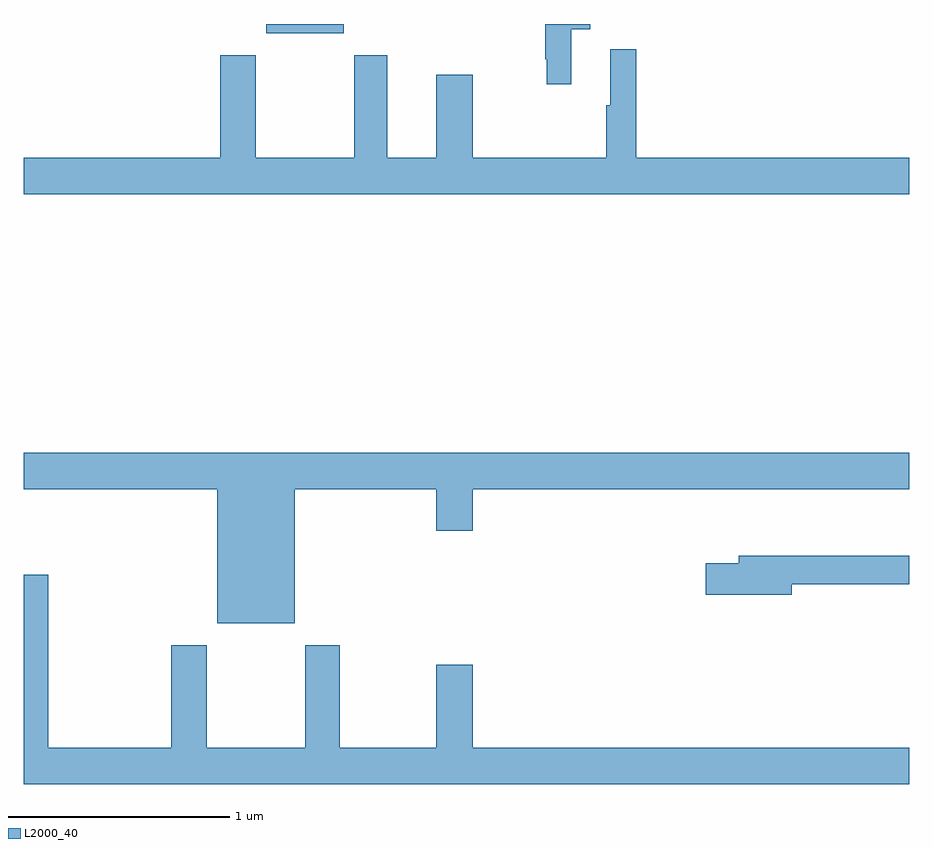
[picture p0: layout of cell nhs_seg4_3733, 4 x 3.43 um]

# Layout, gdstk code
import gdstk
lib = gdstk.Library(unit=1e-6, precision=1e-09)
def R(c, l, rs):  # rectangles x0, y0, x1, y1
    for r in rs: c.add(gdstk.rectangle(r[:2], r[2:], *l))
def P(c, l, *ps):  # polygons
    for p in ps: c.add(gdstk.Polygon(p, *l))
L2000_40 = (2000, 40)

nhs_seg4_3733 = lib.new_cell('nhs_seg4_3733')
R(nhs_seg4_3733, L2000_40, [(308.096,818.858,308.446,818.9)])
P(nhs_seg4_3733, L2000_40, [(309.473,818.876),(309.559,818.876),(309.559,818.9),(309.355,818.9),(309.355,818.74),(309.363,818.74),(309.363,818.628),(309.473,818.628)],
  [(311,818.296),(309.767,818.296),(309.767,818.785),(309.65,818.785),(309.65,818.532),(309.631,818.532),(309.631,818.296),(309.028,818.296),(309.028,818.671),(308.864,818.671),(308.864,818.296),(308.641,818.296),(308.641,818.758),(308.494,818.758),(308.494,818.296),(308.049,818.296),(308.049,818.758),(307.889,818.758),(307.889,818.296),(307,818.296),(307,818.132),(311,818.132)],
  [(308.224,816.8),(308.864,816.8),(308.864,816.612),(309.028,816.612),(309.028,816.8),(311,816.8),(311,816.964),(307,816.964),(307,816.8),(307.874,816.8),(307.874,816.194),(308.224,816.194)],
  [(310.468,816.37),(311,816.37),(311,816.499),(310.229,816.499),(310.229,816.465),(310.08,816.465),(310.08,816.323),(310.468,816.323)],
  [(311,815.632),(309.028,815.632),(309.028,816.007),(308.864,816.007),(308.864,815.632),(308.427,815.632),(308.427,816.094),(308.272,816.094),(308.272,815.632),(307.827,815.632),(307.827,816.094),(307.667,816.094),(307.667,815.632),(307.112,815.632),(307.112,816.412),(307,816.412),(307,815.468),(311,815.468)])

lib.write_gds('nhs_seg4_3733.gds')
